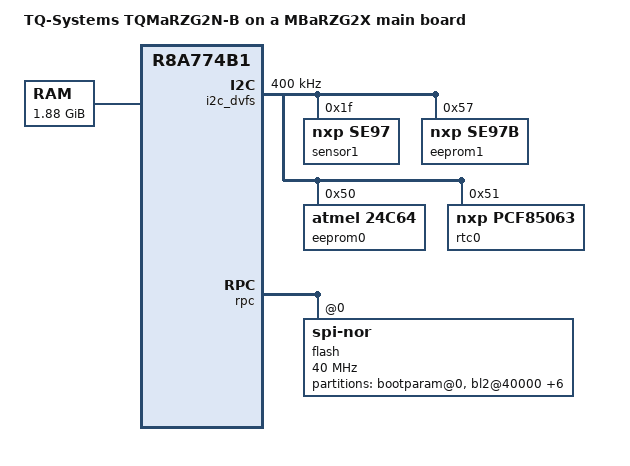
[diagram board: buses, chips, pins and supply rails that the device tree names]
// SPDX-License-Identifier: GPL-2.0-or-later OR MIT
/*
 * Device Tree Source for the TQMaRZG2N-B on a MBaRZG2X main board
 *
 * Copyright (C) 2019 Renesas Electronics Corp.
 * Copyright (C) 2021 TQ-Systems GmbH
 */

/dts-v1/;
#include "r8a774b1.dtsi"
#define TQMARZG2N

/ {
	model = "TQ-Systems TQMaRZG2N-B on a MBaRZG2X main board";
	compatible = "tq,tqmarzg2n-b", "renesas,r8a774b1";

	memory@48000000 {
		device_type = "memory";
		/* first 128MB is reserved for secure area. */
		reg = <0x0 0x48000000 0x0 0x78000000>;
	};

	reserved-memory {
		#address-cells = <2>;
		#size-cells = <2>;
		ranges;

		/* device specific region for Lossy Decompression */
		lossy_decompress: linux,lossy_decompress@54000000 {
			no-map;
			reg = <0x00000000 0x54000000 0x0 0x03000000>;
		};

		/* global autoconfigured region for contiguous allocations */
		global_cma: linux,cma@58000000 {
			compatible = "shared-dma-pool";
			reusable;
			reg = <0x00000000 0x58000000 0x0 0x20000000>;
			linux,cma-default;
		};

		/* device specific region for contiguous allocations */
		mmp_reserved: linux,multimedia@70000000 {
			compatible = "shared-dma-pool";
			reusable;
			reg = <0x00000000 0x78000000 0x0 0x10000000>;
		};
	};

	mmngr {
		compatible = "renesas,mmngr";
		memory-region = <&mmp_reserved>, <&lossy_decompress>;
	};

	mmngrbuf {
		compatible = "renesas,mmngrbuf";
	};
};

&du {
	clocks = <&cpg CPG_MOD 724>,
		<&cpg CPG_MOD 723>,
		<&cpg CPG_MOD 721>,
		<&du_dotclk_in0>,
		<&du_dotclk_in1>,
		<&du_dotclk_in2>;
		clock-names = "du.0", "du.1", "du.3",
			"dclkin.0", "dclkin.1", "dclkin.2";
};

&i2c_dvfs {
	clock-frequency = <400000>;
	/* DMA should be disabled according to FAE P. Furtner */
	dmas = "";
	dma-names = "";
	status = "okay";

	sensor1: sensor@1f {
		compatible = "nxp,se97", "jedec,jc-42.4-temp";
		reg = <0x1f>;
		status = "okay";
	};

	/* config eeprom SE97B */
	eeprom1: eeprom@57 {
		compatible = "nxp,se97b","atmel,24c02";
		reg = <0x57>;
		pagesize = <16>;
		read-only;
		status = "okay";
	};

	/* user eeprom 24LC64 */
	eeprom0: eeprom@50 {
		compatible = "atmel,24c64";
		reg = <0x50>;
		pagesize = <32>;
		status = "okay";
	};

	rtc0: rtc@51 {
		compatible = "nxp,pcf85063";
		reg = <0x51>;
		/* TODO: capacity and offset, needed for improved accuracy */
		status = "okay";
	};
};

&xhci0 {
	memory-region = <&global_cma>;
};

&ehci0 {
	memory-region = <&global_cma>;
};

&ohci0 {
	memory-region = <&global_cma>;
};

&ehci1 {
	memory-region = <&global_cma>;
};

&ohci1 {
	memory-region = <&global_cma>;
};

&rpc {
	renesas,rpc-mode = "spi";
	status = "okay";

	flash@0 {
		compatible = "jedec,spi-nor";
		reg = <0>;
		spi-max-frequency = <40000000>;
		spi-tx-bus-width = <1>;
		spi-rx-bus-width = <4>;
		m25p,fast-read;

		partitions {
			compatible = "fixed-partitions";
			#address-cells = <1>;
			#size-cells = <1>;

			bootparam@0 {
				reg = <0x00000000 0x040000>;
				read-only;
			};
			bl2@40000 {
				reg = <0x00040000 0x140000>;
				read-only;
			};
			cert_header_sa6@180000 {
				reg = <0x00180000 0x040000>;
				read-only;
			};
			bl31@1c0000 {
				reg = <0x001c0000 0x040000>;
				read-only;
			};
			tee@200000 {
				reg = <0x00200000 0x100000>;
				read-only;
			};
			uboot@300000 {
				reg = <0x00300000 0x0F0000>;
				read-only;
			};
			uboot-env@3f0000 {
				reg = <0x003f0000 0x010000>;
				read-only;
			};
			user@400000 {
				reg = <0x00400000 0xC00000>;
			};
		};
	};
};

&pfc {
	sdhi3_pins: sd3 {
		mux {
			groups = "sdhi3_data8", "sdhi3_ctrl", "sdhi3_ds";
			function = "sdhi3";
			power-source = <1800>;
		};

		pins_sdhi3_ctrl {
			groups = "sdhi3_ctrl";
			drive-strength = <9>;
		};

		pins_sdhi3_ds {
			groups = "sdhi3_ds";
			drive-strength = <24>;
		};

		pins_sdhi3_data8 {
			groups = "sdhi3_data8";
			drive-strength = <6>;
		};
	};
};
